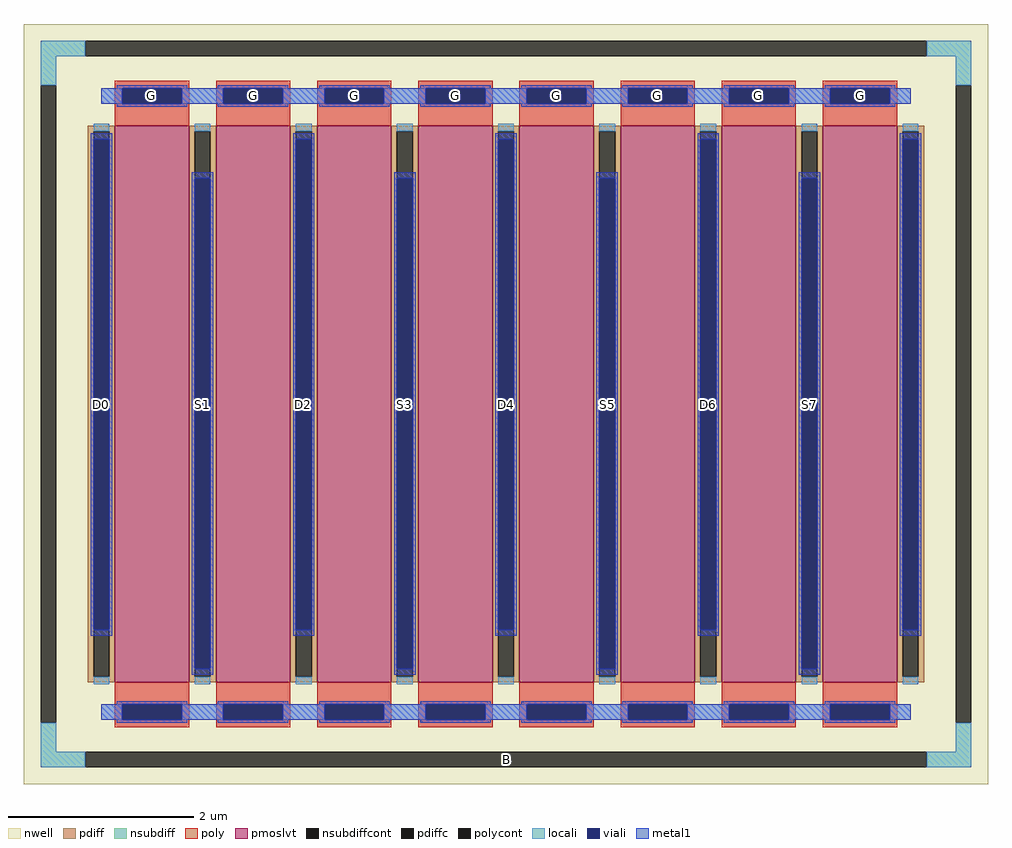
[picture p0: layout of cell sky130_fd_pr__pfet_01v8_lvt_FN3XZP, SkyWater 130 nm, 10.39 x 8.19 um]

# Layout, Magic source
magic
tech sky130A
magscale 1 2
<< nwell >>
rect -1039 -819 1039 819
<< pmoslvt >>
rect -843 -600 -683 600
rect -625 -600 -465 600
rect -407 -600 -247 600
rect -189 -600 -29 600
rect 29 -600 189 600
rect 247 -600 407 600
rect 465 -600 625 600
rect 683 -600 843 600
<< pdiff >>
rect -901 588 -843 600
rect -901 -588 -889 588
rect -855 -588 -843 588
rect -901 -600 -843 -588
rect -683 588 -625 600
rect -683 -588 -671 588
rect -637 -588 -625 588
rect -683 -600 -625 -588
rect -465 588 -407 600
rect -465 -588 -453 588
rect -419 -588 -407 588
rect -465 -600 -407 -588
rect -247 588 -189 600
rect -247 -588 -235 588
rect -201 -588 -189 588
rect -247 -600 -189 -588
rect -29 588 29 600
rect -29 -588 -17 588
rect 17 -588 29 588
rect -29 -600 29 -588
rect 189 588 247 600
rect 189 -588 201 588
rect 235 -588 247 588
rect 189 -600 247 -588
rect 407 588 465 600
rect 407 -588 419 588
rect 453 -588 465 588
rect 407 -600 465 -588
rect 625 588 683 600
rect 625 -588 637 588
rect 671 -588 683 588
rect 625 -600 683 -588
rect 843 588 901 600
rect 843 -588 855 588
rect 889 -588 901 588
rect 843 -600 901 -588
<< pdiffc >>
rect -889 -588 -855 588
rect -671 -588 -637 588
rect -453 -588 -419 588
rect -235 -588 -201 588
rect -17 -588 17 588
rect 201 -588 235 588
rect 419 -588 453 588
rect 637 -588 671 588
rect 855 -588 889 588
<< nsubdiff >>
rect -1003 749 -907 783
rect 907 749 1003 783
rect -1003 687 -969 749
rect 969 687 1003 749
rect -1003 -749 -969 -687
rect 969 -749 1003 -687
rect -1003 -783 -907 -749
rect 907 -783 1003 -749
<< nsubdiffcont >>
rect -907 749 907 783
rect -1003 -687 -969 687
rect 969 -687 1003 687
rect -907 -783 907 -749
<< poly >>
rect -843 681 -683 697
rect -843 647 -827 681
rect -699 647 -683 681
rect -843 600 -683 647
rect -625 681 -465 697
rect -625 647 -609 681
rect -481 647 -465 681
rect -625 600 -465 647
rect -407 681 -247 697
rect -407 647 -391 681
rect -263 647 -247 681
rect -407 600 -247 647
rect -189 681 -29 697
rect -189 647 -173 681
rect -45 647 -29 681
rect -189 600 -29 647
rect 29 681 189 697
rect 29 647 45 681
rect 173 647 189 681
rect 29 600 189 647
rect 247 681 407 697
rect 247 647 263 681
rect 391 647 407 681
rect 247 600 407 647
rect 465 681 625 697
rect 465 647 481 681
rect 609 647 625 681
rect 465 600 625 647
rect 683 681 843 697
rect 683 647 699 681
rect 827 647 843 681
rect 683 600 843 647
rect -843 -647 -683 -600
rect -843 -681 -827 -647
rect -699 -681 -683 -647
rect -843 -697 -683 -681
rect -625 -647 -465 -600
rect -625 -681 -609 -647
rect -481 -681 -465 -647
rect -625 -697 -465 -681
rect -407 -647 -247 -600
rect -407 -681 -391 -647
rect -263 -681 -247 -647
rect -407 -697 -247 -681
rect -189 -647 -29 -600
rect -189 -681 -173 -647
rect -45 -681 -29 -647
rect -189 -697 -29 -681
rect 29 -647 189 -600
rect 29 -681 45 -647
rect 173 -681 189 -647
rect 29 -697 189 -681
rect 247 -647 407 -600
rect 247 -681 263 -647
rect 391 -681 407 -647
rect 247 -697 407 -681
rect 465 -647 625 -600
rect 465 -681 481 -647
rect 609 -681 625 -647
rect 465 -697 625 -681
rect 683 -647 843 -600
rect 683 -681 699 -647
rect 827 -681 843 -647
rect 683 -697 843 -681
<< polycont >>
rect -827 647 -699 681
rect -609 647 -481 681
rect -391 647 -263 681
rect -173 647 -45 681
rect 45 647 173 681
rect 263 647 391 681
rect 481 647 609 681
rect 699 647 827 681
rect -827 -681 -699 -647
rect -609 -681 -481 -647
rect -391 -681 -263 -647
rect -173 -681 -45 -647
rect 45 -681 173 -647
rect 263 -681 391 -647
rect 481 -681 609 -647
rect 699 -681 827 -647
<< locali >>
rect -1003 749 -907 783
rect 907 749 1003 783
rect -1003 687 -969 749
rect 969 687 1003 749
rect -872 647 -827 681
rect -699 647 -609 681
rect -481 647 -391 681
rect -263 647 -173 681
rect -45 647 45 681
rect 173 647 263 681
rect 391 647 481 681
rect 609 647 699 681
rect 827 647 872 681
rect -889 588 -855 604
rect -889 -604 -855 -588
rect -671 588 -637 604
rect -671 -604 -637 -588
rect -453 588 -419 604
rect -453 -604 -419 -588
rect -235 588 -201 604
rect -235 -604 -201 -588
rect -17 588 17 604
rect -17 -604 17 -588
rect 201 588 235 604
rect 201 -604 235 -588
rect 419 588 453 604
rect 419 -604 453 -588
rect 637 588 671 604
rect 637 -604 671 -588
rect 855 588 889 604
rect 855 -604 889 -588
rect -872 -681 -827 -647
rect -699 -681 -609 -647
rect -481 -681 -391 -647
rect -263 -681 -173 -647
rect -45 -681 45 -647
rect 173 -681 263 -647
rect 391 -681 481 -647
rect 609 -681 699 -647
rect 827 -681 872 -647
rect -1003 -749 -969 -687
rect 969 -749 1003 -687
rect -1003 -783 -907 -749
rect 907 -783 1003 -749
<< viali >>
rect -827 647 -699 681
rect -609 647 -481 681
rect -391 647 -263 681
rect -173 647 -45 681
rect 45 647 173 681
rect 263 647 391 681
rect 481 647 609 681
rect 699 647 827 681
rect -889 -487 -855 571
rect -671 -571 -637 487
rect -453 -487 -419 571
rect -235 -571 -201 487
rect -17 -487 17 571
rect 201 -571 235 487
rect 419 -487 453 571
rect 637 -571 671 487
rect 855 -487 889 571
rect -827 -681 -699 -647
rect -609 -681 -481 -647
rect -391 -681 -263 -647
rect -173 -681 -45 -647
rect 45 -681 173 -647
rect 263 -681 391 -647
rect 481 -681 609 -647
rect 699 -681 827 -647
<< metal1 >>
rect -839 681 -687 687
rect -621 681 -469 687
rect -403 681 -251 687
rect -185 681 -33 687
rect 33 681 185 687
rect 251 681 403 687
rect 469 681 621 687
rect 687 681 839 687
rect -872 647 -827 681
rect -699 647 -609 681
rect -481 647 -391 681
rect -263 647 -173 681
rect -45 647 45 681
rect 173 647 263 681
rect 391 647 481 681
rect 609 647 699 681
rect 827 647 872 681
rect -839 641 -687 647
rect -621 641 -469 647
rect -403 641 -251 647
rect -185 641 -33 647
rect 33 641 185 647
rect 251 641 403 647
rect 469 641 621 647
rect 687 641 839 647
rect -895 571 -849 583
rect -895 -487 -889 571
rect -855 -487 -849 571
rect -459 571 -413 583
rect -895 -499 -849 -487
rect -677 487 -631 499
rect -677 -571 -671 487
rect -637 -571 -631 487
rect -459 -487 -453 571
rect -419 -487 -413 571
rect -23 571 23 583
rect -459 -499 -413 -487
rect -241 487 -195 499
rect -677 -583 -631 -571
rect -241 -571 -235 487
rect -201 -571 -195 487
rect -23 -487 -17 571
rect 17 -487 23 571
rect 413 571 459 583
rect -23 -499 23 -487
rect 195 487 241 499
rect -241 -583 -195 -571
rect 195 -571 201 487
rect 235 -571 241 487
rect 413 -487 419 571
rect 453 -487 459 571
rect 849 571 895 583
rect 413 -499 459 -487
rect 631 487 677 499
rect 195 -583 241 -571
rect 631 -571 637 487
rect 671 -571 677 487
rect 849 -487 855 571
rect 889 -487 895 571
rect 849 -499 895 -487
rect 631 -583 677 -571
rect -839 -647 -687 -641
rect -621 -647 -469 -641
rect -403 -647 -251 -641
rect -185 -647 -33 -641
rect 33 -647 185 -641
rect 251 -647 403 -641
rect 469 -647 621 -641
rect 687 -647 839 -641
rect -872 -681 -827 -647
rect -699 -681 -609 -647
rect -481 -681 -391 -647
rect -263 -681 -173 -647
rect -45 -681 45 -647
rect 173 -681 263 -647
rect 391 -681 481 -647
rect 609 -681 699 -647
rect 827 -681 872 -647
rect -839 -687 -687 -681
rect -621 -687 -469 -681
rect -403 -687 -251 -681
rect -185 -687 -33 -681
rect 33 -687 185 -681
rect 251 -687 403 -681
rect 469 -687 621 -681
rect 687 -687 839 -681
<< labels >>
rlabel nsubdiffcont 0 -766 0 -766 0 B
port 1 nsew
rlabel pdiffc -872 0 -872 0 0 D0
port 2 nsew
rlabel polycont -763 664 -763 664 0 G
port 3 nsew
rlabel pdiffc -654 0 -654 0 0 S1
port 4 nsew
rlabel polycont -545 664 -545 664 0 G
port 3 nsew
rlabel pdiffc -436 0 -436 0 0 D2
port 5 nsew
rlabel polycont -327 664 -327 664 0 G
port 3 nsew
rlabel pdiffc -218 0 -218 0 0 S3
port 6 nsew
rlabel polycont -109 664 -109 664 0 G
port 3 nsew
rlabel pdiffc 0 0 0 0 0 D4
port 7 nsew
rlabel polycont 109 664 109 664 0 G
port 3 nsew
rlabel pdiffc 218 0 218 0 0 S5
port 8 nsew
rlabel polycont 327 664 327 664 0 G
port 3 nsew
rlabel pdiffc 436 0 436 0 0 D6
port 9 nsew
rlabel polycont 545 664 545 664 0 G
port 3 nsew
rlabel pdiffc 654 0 654 0 0 S7
port 10 nsew
rlabel polycont 763 664 763 664 0 G
port 3 nsew
<< properties >>
string FIXED_BBOX -986 -766 986 766
string gencell sky130_fd_pr__pfet_01v8_lvt
string library sky130
string parameters w 6.0 l 0.8 m 1 nf 8 diffcov 100 polycov 100 guard 1 glc 1 grc 1 gtc 1 gbc 1 tbcov 100 rlcov 100 topc 1 botc 1 poverlap 0 doverlap 1 lmin 0.35 wmin 0.42 class mosfet compatible {sky130_fd_pr__pfet_01v8  sky130_fd_pr__pfet_01v8_lvt sky130_fd_pr__pfet_01v8_hvt  sky130_fd_pr__pfet_g5v0d10v5} full_metal 1 conn_gates 1 viasrc +90 viadrn -90 viagate 100 viagb 0 viagr 0 viagl 0 viagt 0 doports 1
<< end >>
